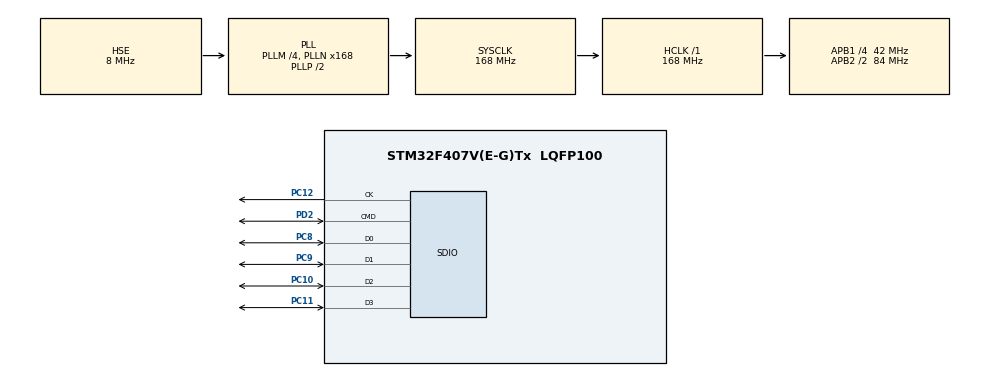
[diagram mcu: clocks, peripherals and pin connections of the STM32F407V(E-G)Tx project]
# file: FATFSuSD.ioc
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FATFS._USE_STRFUNC=0
Mcu.Family=STM32F4
Mcu.Name=STM32F407V(E-G)Tx
Mcu.Package=LQFP100
NVIC.PriorityGroup=NVIC_PRIORITYGROUP_4
PA13.Mode=Serial_Wire
PA13.Signal=SYS_JTMS-SWDIO
PA14.Mode=Serial_Wire
PA14.Signal=SYS_JTCK-SWCLK
PC10.Mode=SD_4_bits_Wide_bus
PC10.Signal=SDIO_D2
PC11.Mode=SD_4_bits_Wide_bus
PC11.Signal=SDIO_D3
PC12.Mode=SD_4_bits_Wide_bus
PC12.Signal=SDIO_CK
PC8.Mode=SD_4_bits_Wide_bus
PC8.Signal=SDIO_D0
PC9.Mode=SD_4_bits_Wide_bus
PC9.Signal=SDIO_D1
PD2.Mode=SD_4_bits_Wide_bus
PD2.Signal=SDIO_CMD
PH0-OSC_IN.Mode=HSE-External-Oscillator
PH0-OSC_IN.Signal=RCC_OSC_IN
PH1-OSC_OUT.Mode=HSE-External-Oscillator
PH1-OSC_OUT.Signal=RCC_OSC_OUT
ProjectManager.HeapSize=0x200
ProjectManager.StackSize=0x400
ProjectManager.TargetToolchain=STM32CubeIDE
RCC.48MHZClocksFreq_Value=48000000
RCC.AHBFreq_Value=168000000
RCC.APB1CLKDivider=RCC_HCLK_DIV4
RCC.APB1Freq_Value=42000000
RCC.APB1TimFreq_Value=84000000
RCC.APB2CLKDivider=RCC_HCLK_DIV2
RCC.APB2Freq_Value=84000000
RCC.APB2TimFreq_Value=168000000
RCC.CortexFreq_Value=168000000
RCC.HCLKFreq_Value=168000000
RCC.HSE_VALUE=8000000
RCC.HSI_VALUE=16000000
RCC.LSE_VALUE=32768
RCC.PLLM=4
RCC.PLLN=168
RCC.PLLQ=7
RCC.PLLSourceVirtual=RCC_PLLSOURCE_HSE
RCC.SYSCLKFreq_VALUE=168000000
RCC.SYSCLKSource=RCC_SYSCLKSOURCE_PLLCLK
RCC.VCOOutputFreq_Value=336000000
SDIO.ClockDiv=4
VP_FATFS_VS_SDIO.Mode=SDIO
board=custom

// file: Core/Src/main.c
/* USER CODE BEGIN Header */
/**
  ******************************************************************************
  * @file           : main.c
  * @brief          : Main program body
  ******************************************************************************
  * @attention
  *
  * Copyright (c) 2024 STMicroelectronics.
  * All rights reserved.
  *
  * This software is licensed under terms that can be found in the LICENSE file
  * in the root directory of this software component.
  * If no LICENSE file comes with this software, it is provided AS-IS.
  *
  ******************************************************************************
  */
/* USER CODE END Header */
#include "main.h"
#include "fatfs.h"

/* USER CODE BEGIN Includes */
#include "string.h"
/* USER CODE END Includes */

SD_HandleTypeDef hsd;

/* USER CODE BEGIN PV */
FATFS SDFastFs;// file system Object for SD disc logical drive
FIL MyFile; // File object
char SDPath[4]; // SD Disc drive path
static uint8_t buffer[_MAX_SS]; // a work buffer for the f_mkfs();

/* USER CODE END PV */

void SystemClock_Config(void);
static void MX_GPIO_Init(void);
static void MX_SDIO_SD_Init(void);

int main(void)
{

  /* USER CODE BEGIN 1 */
	FRESULT res;
	uint32_t totalwr, totalrd;
	uint8_t wrbuffer[100];
	uint8_t rdbuffer[100];
	uint8_t state, option;

  /* USER CODE END 1 */

  /* MCU Configuration--------------------------------------------------------*/

  /* Reset of all peripherals, Initializes the Flash interface and the Systick. */
  HAL_Init();

  /* Configure the system clock */
  SystemClock_Config();

  /* Initialize all configured peripherals */
  MX_GPIO_Init();
  MX_SDIO_SD_Init();
  MX_FATFS_Init();
  /* USER CODE BEGIN 2 */

  FATFS_UnLinkDriver("0://"); // PREVENT ERRORS in LinkDriver if issues in the logical volume 0
  memset(wrbuffer, 0, sizeof(wrbuffer));
  strcpy(wrbuffer, 'store test');
  memset(rdbuffer, 0, sizeof(rdbuffer));
  /* USER CODE END 2 */

  /* Infinite loop */
  while (1)
  {

    /* USER CODE BEGIN 3 */
	  switch(state)
	  {
	  	  case 0:
	  	  {
	  		  // wait and optin flag to open our file
	  		  if (option == 1)
	  		  {
	  			  option = 0;
	  			  state = 1;
	  		  }
	  	  }
	  	  break;
	  	  case 1:
	  	  {
	  		  if(FATFS_LinkDriver(&SD_Driver, SDPath) == 0) // Link available logical volume and copy value to SDPath
	  		  {
	  			  state = 2;
	  		  }
	  		  else
	  		  {
	  			  state = 255;
	  		  }
	  	  }
	  	  break;
	  	  case 2:
	  	  {
	  		  if(f_mount(&SDFastFs, (TCHAR const*)SDPath, 0) == FR_OK) // Register Fatfs module
	  		  {
	  			  state = 3;
	  		  }
	  		  else
	  		  {
	  			  Error_Handler();
	  		  }
	  	  }
	  	  break;
	  	  case 3:
	  	  {
	  		  if(option == 1)// write file
	  		  {
	  			  option = 0;
	  			  state = 4;

	  		  }
	  		  else if (option == 2) // read file
	  		  {
	  			  option = 0;
	  			  state = 5;
	  		  }
	  		  else if(option == 3) // create file
	  		  {
	  			  option = 0;
	  			  state = 10;
	  		  }
	  	  }
	  	  break;
	  	  case 4:
	  	  {
	  		  if(f_open(&MyFile, "TEST.txt", FA_CREATE_ALWAYS | FA_WRITE) == FR_OK ) // Create and open a new file with write access
	  		  {
	  			  state = 6;
	  		  }
	  		  else
	  		  {
	  			  Error_Handler();
	  		  }
	  	  }
	  	  break;
	  	  case 5:
	  	  {
	  		  if(f_open(&MyFile, "TEST.txt", FA_READ) == FR_OK ) // open a new file with read access
	  		  {
	  			  state = 7;
	  		  }
	  		  else
	  		  {
	  			  Error_Handler();
	  		  }

	  	  }
	  	  break;
	  	  case 6:
	  	  {
	  		  res = f_write(&MyFile, wrbuffer, sizeof(wrbuffer), (void *)&totalwr); // write a file with buffer information
	  		  if(totalwr == 0 || (res != FR_OK)) // if nothing was writen in our file
	  		  {
	  			  Error_Handler();
	  		  }
	  		  else
	  		  {
	  			  state = 8;
	  		  }

	  	  }
	  	  break;
	  	  case 7:
	  	  {
	  		  res = f_read(&MyFile, rdbuffer, sizeof(rdbuffer), (UINT *)&totalrd); // Read file and copy information to buffer
	  		  if(totalrd == 0 || (res != FR_OK)) // if nothing was writen in our file
	  		  {
	  			  Error_Handler();
	  		  }
	  		  else
	  		  {
	  			  state = 8;
	  		  }

	  	  }
	  	  break;
	  	  case 8:
	  	  {
	  		  f_close(&MyFile); // Close the open file
	  		  state = 255;

	  	  }
	  	  break;
	  	  case 10:
	  	  {
	  		  if(f_mkfs((TCHAR const*) SDPath, FM_ANY, 0 , buffer, sizeof(buffer)) == FR_OK)//Format logical drive FAT file system
	  		  {
	  			  state = 4;
	  		  }
	  		  else
	  		  {
	  			  Error_Handler();
	  		  }
	  	  }
	  	  case 255:
	  	  {
	  		  FATFS_UnLinkDriver(SDPath); // unlink disc I/O Drive
	  	  }
	  }
  }
  /* USER CODE END 3 */
}

void SystemClock_Config(void)
{
  RCC_OscInitTypeDef RCC_OscInitStruct = {0};
  RCC_ClkInitTypeDef RCC_ClkInitStruct = {0};

  /** Configure the main internal regulator output voltage
  */
  __HAL_RCC_PWR_CLK_ENABLE();
  __HAL_PWR_VOLTAGESCALING_CONFIG(PWR_REGULATOR_VOLTAGE_SCALE1);

  /** Initializes the RCC Oscillators according to the specified parameters
  * in the RCC_OscInitTypeDef structure.
  */
  RCC_OscInitStruct.OscillatorType = RCC_OSCILLATORTYPE_HSE;
  RCC_OscInitStruct.HSEState = RCC_HSE_ON;
  RCC_OscInitStruct.PLL.PLLState = RCC_PLL_ON;
  RCC_OscInitStruct.PLL.PLLSource = RCC_PLLSOURCE_HSE;
  RCC_OscInitStruct.PLL.PLLM = 4;
  RCC_OscInitStruct.PLL.PLLN = 168;
  RCC_OscInitStruct.PLL.PLLP = RCC_PLLP_DIV2;
  RCC_OscInitStruct.PLL.PLLQ = 7;
  if (HAL_RCC_OscConfig(&RCC_OscInitStruct) != HAL_OK)
  {
    Error_Handler();
  }

  /** Initializes the CPU, AHB and APB buses clocks
  */
  RCC_ClkInitStruct.ClockType = RCC_CLOCKTYPE_HCLK|RCC_CLOCKTYPE_SYSCLK
                              |RCC_CLOCKTYPE_PCLK1|RCC_CLOCKTYPE_PCLK2;
  RCC_ClkInitStruct.SYSCLKSource = RCC_SYSCLKSOURCE_PLLCLK;
  RCC_ClkInitStruct.AHBCLKDivider = RCC_SYSCLK_DIV1;
  RCC_ClkInitStruct.APB1CLKDivider = RCC_HCLK_DIV4;
  RCC_ClkInitStruct.APB2CLKDivider = RCC_HCLK_DIV2;

  if (HAL_RCC_ClockConfig(&RCC_ClkInitStruct, FLASH_LATENCY_5) != HAL_OK)
  {
    Error_Handler();
  }
}

static void MX_SDIO_SD_Init(void)
{

  hsd.Instance = SDIO;
  hsd.Init.ClockEdge = SDIO_CLOCK_EDGE_RISING;
  hsd.Init.ClockBypass = SDIO_CLOCK_BYPASS_DISABLE;
  hsd.Init.ClockPowerSave = SDIO_CLOCK_POWER_SAVE_DISABLE;
  hsd.Init.BusWide = SDIO_BUS_WIDE_4B;
  hsd.Init.HardwareFlowControl = SDIO_HARDWARE_FLOW_CONTROL_DISABLE;
  hsd.Init.ClockDiv = 4;

}

static void MX_GPIO_Init(void)
{

  /* GPIO Ports Clock Enable */
  __HAL_RCC_GPIOH_CLK_ENABLE();
  __HAL_RCC_GPIOC_CLK_ENABLE();
  __HAL_RCC_GPIOA_CLK_ENABLE();
  __HAL_RCC_GPIOD_CLK_ENABLE();

}

void Error_Handler(void)
{
  __disable_irq();
  while (1)
  {
  }
}
